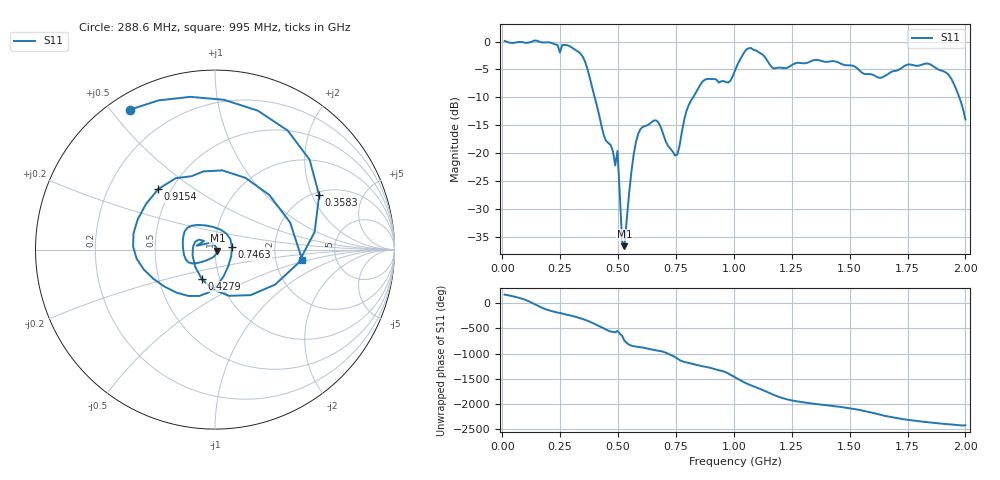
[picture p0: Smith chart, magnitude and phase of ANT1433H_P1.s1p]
!Created with skrf (http://scikit-rf.org).
# Hz S RI R 50.0
!freq ReS11 ImS11
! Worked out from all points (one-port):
!   201 points, 10 MHz to 2 GHz, reference 50 ohm
!   lowest |S11| = -36.6 dB at 527.4 MHz (marker M1), VSWR 1.03, Z = 51.4 - j0.568 ohm
!   |S11| at or under -10 dB: 399.1 MHz to 823.8 MHz (424.7 MHz wide, 69.5 % of centre); 1.974 GHz to end of sweep
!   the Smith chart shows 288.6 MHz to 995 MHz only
!   S11 on the Smith chart (normalised r, x): 288.6 MHz: 0.06, +0.56; 358.2 MHz: 2.14, +2.26; 427.9 MHz: 0.82, -0.27; 746.3 MHz: 1.21, +0.04; 915.5 MHz: 0.43, +0.36; 995 MHz: 2.84, -0.42
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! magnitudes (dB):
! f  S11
! 10 MHz  0.1
! 258.8 MHz  -0.6
! 288.6 MHz  -0.8
! 358.2 MHz  -3.7
! 427.9 MHz  -15.0
! 487.6 MHz  -22.2
! 497.6 MHz  -19.6
! 507.5 MHz  -27.3
! 517.5 MHz  -35.8
! 527.4 MHz  -36.6
! 567.2 MHz  -20.3
! 597 MHz  -15.6
! 666.7 MHz  -14.2
! 746.3 MHz  -20.4
! 756.2 MHz  -20.2
! 806 MHz  -11.3
! 865.7 MHz  -7.1
! 915.5 MHz  -6.7
! 995 MHz  -6.2
! 1.005 GHz  -5.2
! 1.065 GHz  -1.2
! 1.174 GHz  -4.8
! 1.254 GHz  -4.1
! 1.502 GHz  -4.3
! 1.632 GHz  -6.5
! 1.751 GHz  -4.1
! 1.92 GHz  -5.7
! 2 GHz  -13.9
